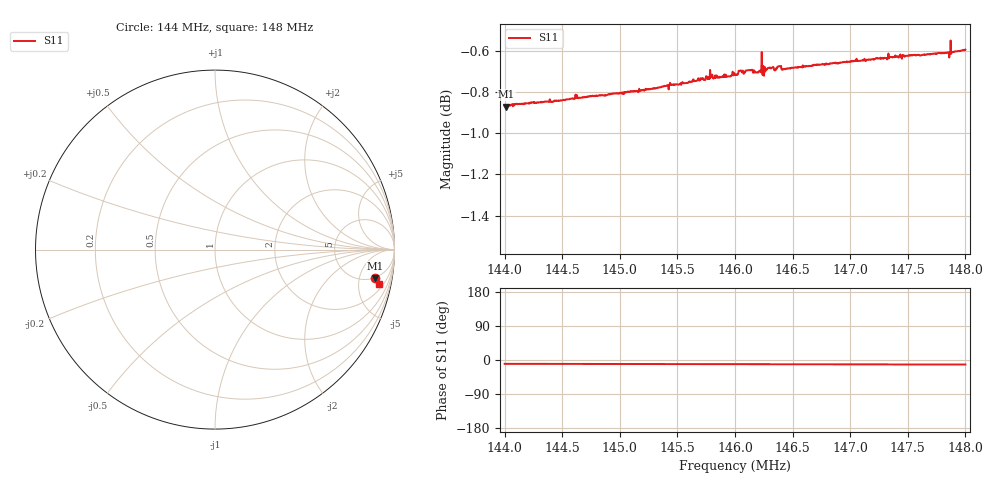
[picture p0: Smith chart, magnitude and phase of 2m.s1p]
! Calibrated averaged scanner-service zoom
# Hz S RI R 50
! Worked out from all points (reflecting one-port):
!   1001 points, 144 MHz to 148 MHz, reference 50 ohm
!   lowest |S11| = -0.9 dB at 144.02 MHz (marker M1), VSWR 19.98, Z = 245 - j428 ohm
!   phase of S11 starts at -10 deg and turns -2 deg over the sweep
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1.44e8  0.8912 -0.1584
1.44016e8  0.8907 -0.1583
1.445e8  0.8933 -0.161
1.44632e8  0.8944 -0.1623
1.45e8  0.8965 -0.1653
1.4518e8  0.8973 -0.1664
1.455e8  0.8999 -0.1701
1.45752e8  0.9032 -0.1729
1.45788e8  0.9031 -0.1726
1.4588e8  0.9032 -0.1733
1.46e8  0.9041 -0.1747
1.46048e8  0.906 -0.1767
1.46132e8  0.9062 -0.1773
1.46192e8  0.905 -0.1767
1.46228e8  0.9052 -0.177
1.46252e8  0.903 -0.178
1.46256e8  0.9074 -0.1799
1.46304e8  0.9072 -0.1789
1.46356e8  0.9067 -0.1789
1.4638e8  0.9077 -0.1798
1.46424e8  0.9064 -0.1787
1.465e8  0.9069 -0.1794
1.47e8  0.9093 -0.1846
1.475e8  0.9111 -0.1898
1.4784e8  0.9124 -0.1925
1.47884e8  0.9125 -0.1928
1.47896e8  0.9126 -0.193
1.48e8  0.9136 -0.1939
